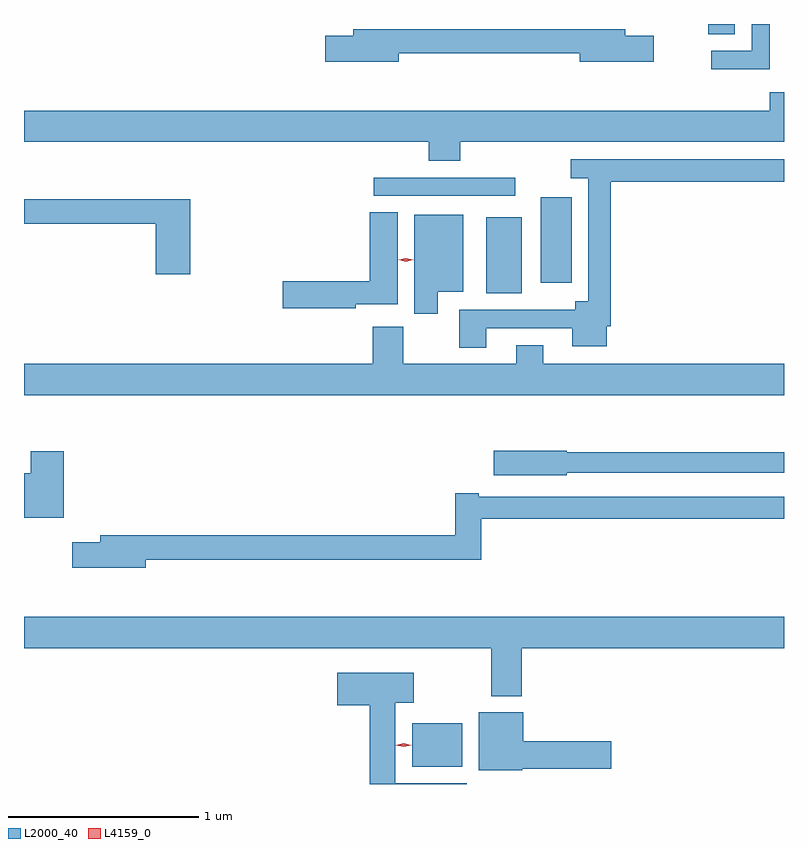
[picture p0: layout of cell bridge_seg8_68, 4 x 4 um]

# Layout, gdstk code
import gdstk
lib = gdstk.Library(unit=1e-6, precision=1e-09)
def R(c, l, rs):  # rectangles x0, y0, x1, y1
    for r in rs: c.add(gdstk.rectangle(r[:2], r[2:], *l))
def P(c, l, *ps):  # polygons
    for p in ps: c.add(gdstk.Polygon(p, *l))
L2000_40 = (2000, 40)
L4159_0 = (4159, 0)

bridge_seg8_68 = lib.new_cell('bridge_seg8_68')
R(bridge_seg8_68, L2000_40, [(925.922,1085.24,926.185,1085.47), (926.312,1087.733,926.5,1088.131), (926.6,1087.788,926.761,1088.236), (925.719,1088.244,926.464,1088.34)])
P(bridge_seg8_68, L2000_40, [(927.619,1089.149),(927.449,1089.149),(927.449,1089.147),(927.481,1089.147),(927.481,1089.094),(927.619,1089.094)],
  [(927.804,1089.149),(927.708,1089.149),(927.708,1089.009),(927.495,1089.009),(927.495,1088.911),(927.804,1088.911)],
  [(925.852,1088.994),(926.804,1088.994),(926.804,1088.951),(927.193,1088.951),(927.193,1089.086),(927.043,1089.086),(927.043,1089.122),(925.613,1089.122),(925.613,1089.086),(925.464,1089.086),(925.464,1088.951),(925.852,1088.951)],
  [(926.174,1088.528),(927.879,1088.528),(927.879,1088.791),(927.803,1088.791),(927.803,1088.692),(923.879,1088.692),(923.879,1088.528),(926.009,1088.528),(926.009,1088.429),(926.174,1088.429)],
  [(926.311,1087.548),(926.765,1087.548),(926.765,1087.454),(926.947,1087.454),(926.947,1087.558),(926.966,1087.558),(926.966,1088.32),(927.879,1088.32),(927.879,1088.436),(926.757,1088.436),(926.757,1088.336),(926.85,1088.336),(926.85,1087.69),(926.78,1087.69),(926.78,1087.644),(926.171,1087.644),(926.171,1087.446),(926.311,1087.446)],
  [(924.755,1088.227),(923.879,1088.227),(923.879,1088.098),(924.572,1088.098),(924.572,1087.833),(924.755,1087.833)],
  [(925.626,1087.673),(925.846,1087.673),(925.846,1088.159),(925.7,1088.159),(925.7,1087.796),(925.242,1087.796),(925.242,1087.654),(925.626,1087.654)],
  [(926.056,1087.739),(926.191,1087.739),(926.191,1088.146),(925.934,1088.146),(925.934,1087.623),(926.056,1087.623)],
  [(927.879,1087.36),(926.611,1087.36),(926.611,1087.459),(926.471,1087.459),(926.471,1087.36),(925.875,1087.36),(925.875,1087.555),(925.715,1087.555),(925.715,1087.36),(923.879,1087.36),(923.879,1087.196),(927.879,1087.196)],
  [(926.736,1086.786),(927.879,1086.786),(927.879,1086.895),(926.736,1086.895),(926.736,1086.903),(926.352,1086.903),(926.352,1086.773),(926.736,1086.773)],
  [(924.089,1086.9),(923.915,1086.9),(923.915,1086.784),(923.879,1086.784),(923.879,1086.551),(924.089,1086.551)],
  [(924.52,1086.33),(926.285,1086.33),(926.285,1086.544),(927.879,1086.544),(927.879,1086.66),(926.272,1086.66),(926.272,1086.68),(926.149,1086.68),(926.149,1086.458),(924.281,1086.458),(924.281,1086.422),(924.132,1086.422),(924.132,1086.287),(924.52,1086.287)],
  [(926.498,1085.864),(927.879,1085.864),(927.879,1086.028),(923.879,1086.028),(923.879,1085.864),(926.338,1085.864),(926.338,1085.612),(926.498,1085.612)],
  [(926.209,1085.152),(925.834,1085.152),(925.834,1085.576),(925.93,1085.576),(925.93,1085.734),(925.527,1085.734),(925.527,1085.564),(925.7,1085.564),(925.7,1085.149),(926.209,1085.149)],
  [(926.502,1085.228),(926.971,1085.228),(926.971,1085.375),(926.506,1085.375),(926.506,1085.527),(926.273,1085.527),(926.273,1085.222),(926.502,1085.222)])
P(bridge_seg8_68, L4159_0, [(925.889,1087.897),(925.851,1087.907),(925.851,1087.907),(925.851,1087.907),(925.889,1087.917),(925.927,1087.907),(925.927,1087.907),(925.927,1087.907)],
  [(925.877,1085.344),(925.836,1085.353),(925.836,1085.354),(925.836,1085.354),(925.877,1085.364),(925.918,1085.354),(925.918,1085.354),(925.918,1085.353)])

lib.write_gds('bridge_seg8_68.gds')
